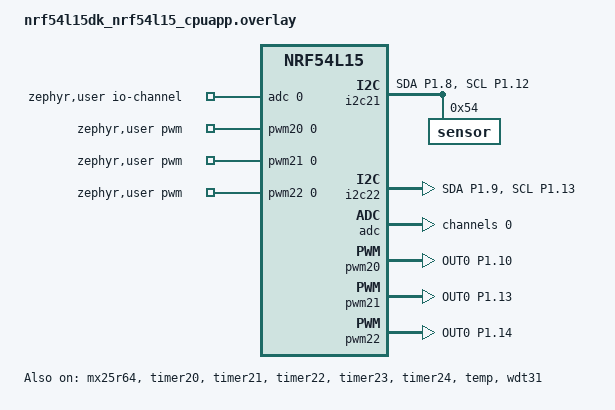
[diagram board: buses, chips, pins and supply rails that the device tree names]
/*
 * Copyright (c) 2026 Nordic Semiconductor ASA
 *
 * SPDX-License-Identifier: LicenseRef-Nordic-5-Clause
 */

/ {
	aliases {
		dut-flash = &mx25r64;
		test-gpio = &led0;
		watchdog0 = &wdt31;
		/delete-property/ pwm_led1;
	};

	zephyr,user {
		io-channels = <&adc 0>;
		pwms = <&pwm20 0 PWM_MSEC(10) PWM_POLARITY_NORMAL>,
		       <&pwm21 0 PWM_MSEC(10) PWM_POLARITY_NORMAL>,
		       <&pwm22 0 PWM_MSEC(10) PWM_POLARITY_NORMAL>;
	};
};

&pinctrl {
	i2c21_default_alt: i2c21_default_alt {
		group1 {
			psels = <NRF_PSEL(TWIM_SDA, 1, 8)>,
				<NRF_PSEL(TWIM_SCL, 1, 12)>;
		};
	};

	i2c21_sleep_alt: i2c21_sleep_alt {
		group1 {
			psels = <NRF_PSEL(TWIM_SDA, 1, 8)>,
				<NRF_PSEL(TWIM_SCL, 1, 12)>;
			low-power-enable;
		};
	};

	i2c22_default_alt: i2c22_default_alt {
		group1 {
			psels = <NRF_PSEL(TWIS_SDA, 1, 9)>,
				<NRF_PSEL(TWIS_SCL, 1, 13)>;
			bias-pull-up;
		};
	};

	i2c22_sleep_alt: i2c22_sleep_alt {
		group1 {
			psels = <NRF_PSEL(TWIS_SDA, 1, 9)>,
				<NRF_PSEL(TWIS_SCL, 1, 13)>;
			low-power-enable;
		};
	};

	pwm20_default_alt: pwm20_default_alt {
		group1 {
			psels = <NRF_PSEL(PWM_OUT0, 1, 10)>;
		};
	};

	pwm20_sleep_alt: pwm20_sleep_alt {
		group1 {
			psels = <NRF_PSEL(PWM_OUT0, 1, 10)>;
			low-power-enable;
		};
	};

	pwm21_default_alt: pwm21_default_alt {
		group1 {
			psels = <NRF_PSEL(PWM_OUT0, 1, 13)>;
		};
	};

	pwm21_sleep_alt: pwm21_sleep_alt {
		group1 {
			psels = <NRF_PSEL(PWM_OUT0, 1, 13)>;
			low-power-enable;
		};
	};

	pwm22_default_alt: pwm22_default_alt {
		group1 {
			psels = <NRF_PSEL(PWM_OUT0, 1, 14)>;
		};
	};

	pwm22_sleep_alt: pwm22_sleep_alt {
		group1 {
			psels = <NRF_PSEL(PWM_OUT0, 1, 14)>;
			low-power-enable;
		};
	};
};

dut_twim: &i2c21 {
	compatible = "nordic,nrf-twim";
	status = "okay";
	pinctrl-0 = <&i2c21_default_alt>;
	pinctrl-1 = <&i2c21_sleep_alt>;
	pinctrl-names = "default", "sleep";

	sensor: sensor@54 {
		reg = <0x54>;
	};
};

dut_twis: &i2c22 {
	compatible = "nordic,nrf-twis";
	status = "okay";
	pinctrl-0 = <&i2c22_default_alt>;
	pinctrl-1 = <&i2c22_sleep_alt>;
	pinctrl-names = "default", "sleep";
};

&mx25r64 {
	status = "okay";
};

&adc {
	#address-cells = <1>;
	#size-cells = <0>;

	channel@0 {
		reg = <0>;
		zephyr,gain = "ADC_GAIN_1";
		zephyr,reference = "ADC_REF_INTERNAL";
		zephyr,acquisition-time = <ADC_ACQ_TIME(ADC_ACQ_TIME_MICROSECONDS, 10)>;
		zephyr,input-positive = <NRF_SAADC_AIN1>; /* P1.06 */
		zephyr,resolution = <10>;
	};
};

&timer20 {
	status = "okay";
};

&timer21 {
	status = "okay";
};

&timer22 {
	status = "okay";
};

&timer23 {
	status = "okay";
};

&timer24 {
	status = "okay";
};

&pwm20 {
	status = "okay";
	pinctrl-0 = <&pwm20_default_alt>;
	pinctrl-1 = <&pwm20_sleep_alt>;
	pinctrl-names = "default", "sleep";
};

&pwm21 {
	status = "okay";
	pinctrl-0 = <&pwm21_default_alt>;
	pinctrl-1 = <&pwm21_sleep_alt>;
	pinctrl-names = "default", "sleep";
};

&pwm22 {
	status = "okay";
	pinctrl-0 = <&pwm22_default_alt>;
	pinctrl-1 = <&pwm22_sleep_alt>;
	pinctrl-names = "default", "sleep";
};

temp_sensor: &temp {
	status = "okay";
};

&gpio2 {
	status = "okay";
};

&wdt31 {
	status = "okay";
};
